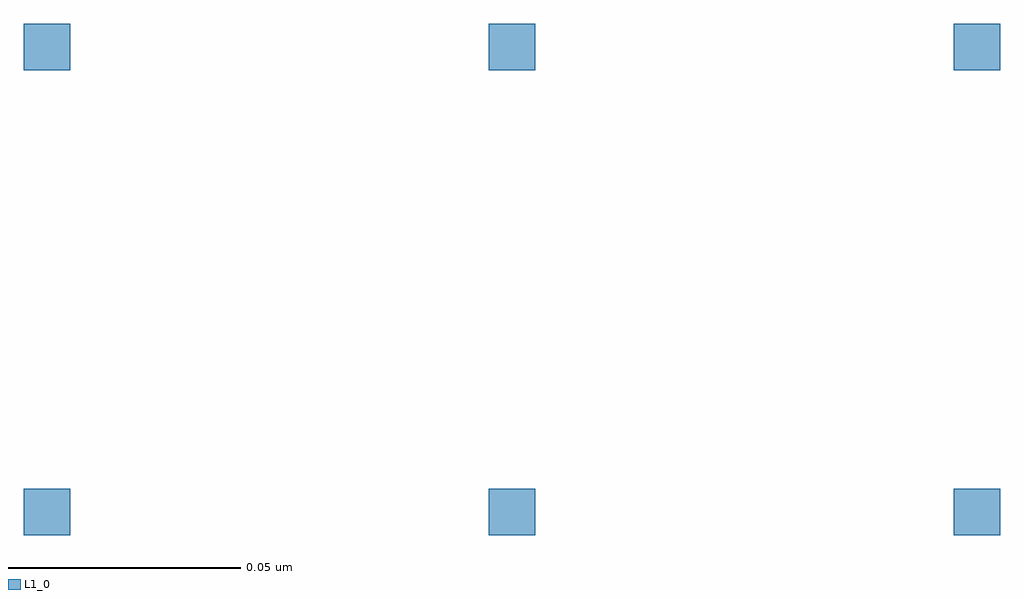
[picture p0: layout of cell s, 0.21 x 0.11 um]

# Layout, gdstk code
import gdstk
lib = gdstk.Library(unit=1e-6, precision=1e-09)
def R(c, l, rs):  # rectangles x0, y0, x1, y1
    for r in rs: c.add(gdstk.rectangle(r[:2], r[2:], *l))
def A(c, l, x, y, w, h, nx, ny, dx, dy):  # array of equal rectangles
    R(c, l, [(x+i*dx, y+j*dy, x+i*dx+w, y+j*dy+h) for i in range(nx) for j in range(ny)])
L1_0 = (1, 0)

c_s = lib.new_cell('s')
A(c_s, L1_0, 0, 0, 0.01, 0.01, 3, 2, 0.1, 0.1)

lib.write_gds('s.gds')
